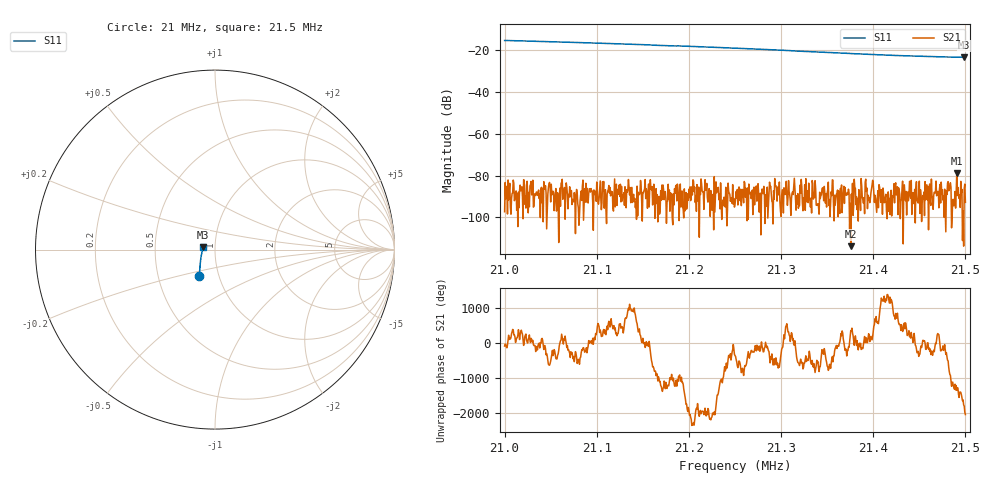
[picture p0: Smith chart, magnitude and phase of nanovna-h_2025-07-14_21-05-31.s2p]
! NanoVNA-App by OneOfEleven et al v1.1.209 (+OD18)
! Date: 2025-07-14 21:05:33
! Start: 21MHz Stop: 21,5MHz Points: 801
! S-Parameter data: F S11 S21 S12 S22
# Hz S RI R 50
!  Frequency  S11_Real  S11_Imag  S21_Real  S21_Imag  S12_Real  S12_Imag  S22_Real  S22_Imag
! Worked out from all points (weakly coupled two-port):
!   801 points, 21 MHz to 21.5 MHz, reference 50 ohm
!   highest |S21| = -78.79 dB at 21.491 MHz (marker M1); lowest = -113.7 dB at 21.376 MHz (marker M2)
!   lowest |S11| = -23.4 dB at 21.498 MHz (marker M3), VSWR 1.14, Z = 43.8 + j1.06 ohm
!   |S11| at or under -10 dB: start of sweep to end of sweep
!   S12 and S22 are empty: the file has one direction only
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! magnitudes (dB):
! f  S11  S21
! 21 MHz  -15.4  -97.3
! 21.084 MHz  -16.4  -91.9
! 21.146 MHz  -17.3  -89.1
! 21.167 MHz  -17.7  -97.8
! 21.184 MHz  -18.0  -86.2
! 21.192 MHz  -18.0  -87.9
! 21.227 MHz  -18.7  -80.5
! 21.25 MHz  -19.1  -93.9
! 21.296 MHz  -20.0  -85.5
! 21.315 MHz  -20.4  -86.0
! 21.334 MHz  -20.8  -82.4
! 21.376 MHz  -21.6  -113.7
! 21.417 MHz  -22.4  -97.1
! 21.453 MHz  -23.0  -101.9
! 21.476 MHz  -23.3  -91.6
! 21.488 MHz  -23.4  -94.4
! 21.488 MHz  -23.3  -93.8
! 21.491 MHz  -23.4  -78.8
! 21.493 MHz  -23.4  -90.9
! 21.494 MHz  -23.4  -89.3
! 21.498 MHz  -23.4  -113.7
! 21.5 MHz  -23.4  -92.7
